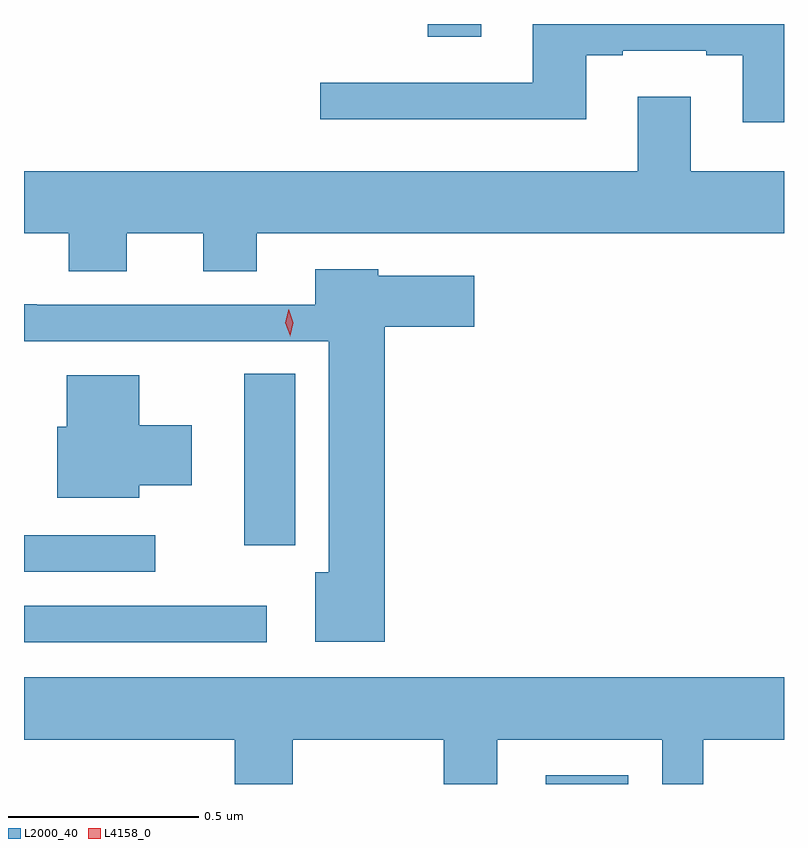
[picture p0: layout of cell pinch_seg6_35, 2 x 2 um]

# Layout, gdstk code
import gdstk
lib = gdstk.Library(unit=1e-6, precision=1e-09)
def R(c, l, rs):  # rectangles x0, y0, x1, y1
    for r in rs: c.add(gdstk.rectangle(r[:2], r[2:], *l))
def P(c, l, *ps):  # polygons
    for p in ps: c.add(gdstk.Polygon(p, *l))
L2000_40 = (2000, 40)
L4158_0 = (4158, 0)

pinch_seg6_35 = lib.new_cell('pinch_seg6_35')
R(pinch_seg6_35, L2000_40, [(938.703,960.539,938.92,960.562), (937.33,960.912,937.969,961.008), (937.33,961.098,937.675,961.194), (937.91,961.167,938.044,961.619), (938.393,962.505,938.533,962.539)])
P(pinch_seg6_35, L2000_40, [(939.33,962.539),(938.669,962.539),(938.669,962.385),(938.109,962.385),(938.109,962.288),(938.809,962.288),(938.809,962.457),(938.905,962.457),(938.905,962.469),(939.125,962.469),(939.125,962.457),(939.221,962.457),(939.221,962.28),(939.33,962.28)],
  [(937.6,961.988),(937.802,961.988),(937.802,961.889),(937.942,961.889),(937.942,961.988),(939.33,961.988),(939.33,962.152),(939.085,962.152),(939.085,962.347),(938.945,962.347),(938.945,962.152),(937.33,962.152),(937.33,961.988),(937.448,961.988),(937.448,961.889),(937.6,961.889)],
  [(938.279,961.742),(938.515,961.742),(938.515,961.876),(938.262,961.876),(938.262,961.894),(938.096,961.894),(938.096,961.8),(937.364,961.8),(937.364,961.802),(937.33,961.802),(937.33,961.704),(938.132,961.704),(938.132,961.096),(938.096,961.096),(938.096,960.914),(938.279,960.914)],
  [(937.633,961.325),(937.771,961.325),(937.771,961.483),(937.633,961.483),(937.633,961.615),(937.442,961.615),(937.442,961.479),(937.418,961.479),(937.418,961.292),(937.633,961.292)],
  [(938.037,960.656),(938.435,960.656),(938.435,960.539),(938.575,960.539),(938.575,960.656),(939.009,960.656),(939.009,960.539),(939.118,960.539),(939.118,960.656),(939.33,960.656),(939.33,960.82),(937.33,960.82),(937.33,960.656),(937.885,960.656),(937.885,960.539),(938.037,960.539)])
P(pinch_seg6_35, L4158_0, [(938.03,961.717),(938.03,961.718),(938.018,961.753),(938.027,961.788),(938.027,961.788),(938.027,961.788),(938.038,961.753),(938.03,961.718)])

lib.write_gds('pinch_seg6_35.gds')
